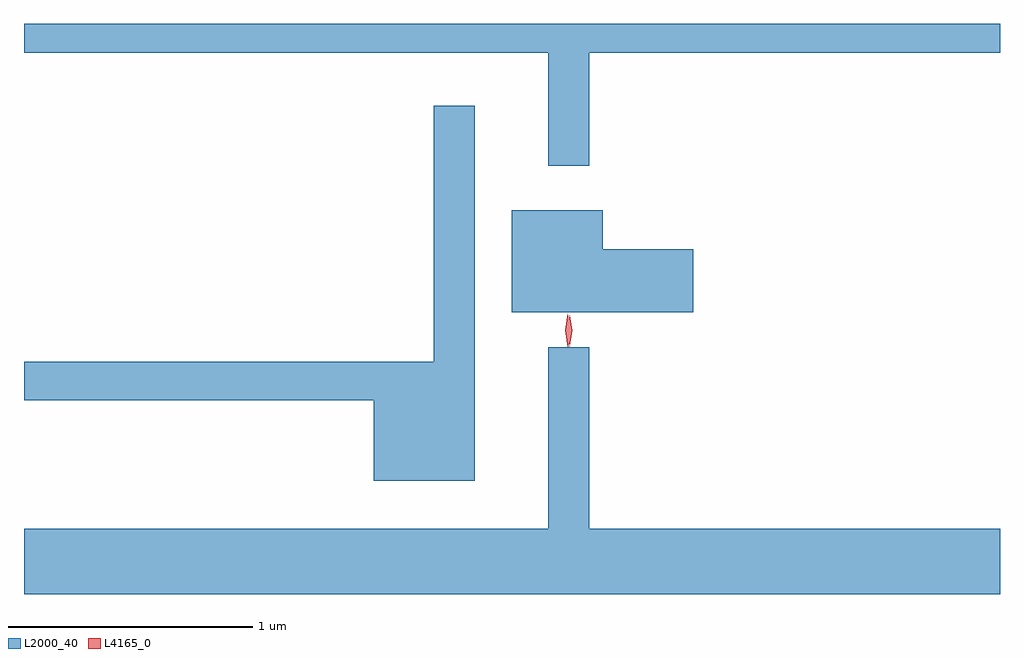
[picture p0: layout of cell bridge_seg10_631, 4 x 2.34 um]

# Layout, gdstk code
import gdstk
lib = gdstk.Library(unit=1e-6, precision=1e-09)
def P(c, l, *ps):  # polygons
    for p in ps: c.add(gdstk.Polygon(p, *l))
L2000_40 = (2000, 40)
L4165_0 = (4165, 0)

bridge_seg10_631 = lib.new_cell('bridge_seg10_631')
P(bridge_seg10_631, L2000_40, [(951.739,2147.216),(953.422,2147.216),(953.422,2147.334),(949.422,2147.334),(949.422,2147.216),(951.571,2147.216),(951.571,2146.753),(951.739,2146.753)],
  [(951.269,2146.998),(951.101,2146.998),(951.101,2145.949),(949.422,2145.949),(949.422,2145.791),(950.856,2145.791),(950.856,2145.461),(951.269,2145.461)],
  [(952.164,2146.409),(951.794,2146.409),(951.794,2146.569),(951.421,2146.569),(951.421,2146.151),(952.164,2146.151)],
  [(953.422,2145.264),(951.739,2145.264),(951.739,2146.008),(951.571,2146.008),(951.571,2145.264),(949.422,2145.264),(949.422,2144.996),(953.422,2144.996)])
P(bridge_seg10_631, L4165_0, [(951.651,2146.01),(951.641,2146.078),(951.65,2146.146),(951.65,2146.146),(951.651,2146.146),(951.661,2146.078),(951.652,2146.01),(951.652,2146.01)],
  [(951.658,2146.013),(951.658,2146.014),(951.648,2146.076),(951.658,2146.14),(951.658,2146.14),(951.659,2146.14),(951.668,2146.076),(951.659,2146.014)])

lib.write_gds('bridge_seg10_631.gds')
